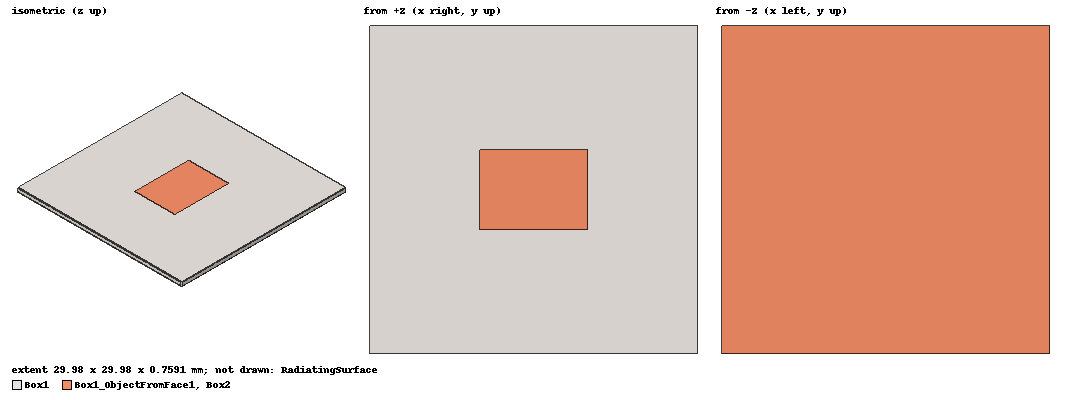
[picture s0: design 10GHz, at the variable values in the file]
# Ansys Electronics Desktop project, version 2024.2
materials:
  vacuum: permittivity=1
  Rogers RT/duroid 5880 (tm): permittivity=2.2 dielectric_loss_tangent=0.0009
  Rogers RO4003 (tm): permittivity=3.55 dielectric_loss_tangent=0.0027
  copper: permeability=0.999991 conductivity=58000000
  pec: conductivity=1e+30
  FR4_epoxy: permittivity=4.4 dielectric_loss_tangent=0.02
  Rogers RO4350 (tm): permittivity=3.66 dielectric_loss_tangent=0.004

design 10GHz (HFSS, HFSS Modal Network, model units mm)
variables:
  c = 299792458
  f0 = 10GHz
  lambda = c/f0
  SubW = lambda
  SubL = lambda
  SubTh = 0.688mm
  CuTh = 0.03556mm
  epsi_r = 3.66
  PatchW = (lambda/2)*sqrt(2/(epsi_r+1))
  PatchL = PatchWMult*lambda/2/sqrt(epsi_r)
  FeedX = 0.1mm
  FeedY = -1.7mm
  PatchWMult = 0.93
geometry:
  Box1 [Rogers RO4350 (tm)] = box(corner=(-SubW/2, -SubL/2, 0mm), size=(SubW, SubL, SubTh))
  Box1_ObjectFromFace1 [copper] = object_from(Box1.face(-z))
  Box1_ObjectFromFace1.thicken(CuTh)
  Box2 [copper] = box(corner=(-PatchW/2, -PatchL/2, SubTh), size=(PatchW, PatchL, CuTh))
  RadiatingSurface [vacuum] = region(absolute_offset=10mm on all sides)
  Rectangle1 = rectangle(corner=(-FeedX/2, FeedY, 0mm), z_size=SubTh, x_size=FeedX)
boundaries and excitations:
  Open1: Radiation Objects=RadiatingSurface
  1: Lumped Port Objects=Rectangle1 LumpedPortType=Modal Modes{Mode1{IntLine{(0, -1.7, 0) -> (0, -1.7, 0.688)} CharImp=Zpi RenormImp=50ohm}} Impedance=50ohm
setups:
  Setup1: HfssDriven Frequency=10GHz MaxDeltaS=0.02 MaximumPasses=20 MinimumPasses=1 MinimumConvergedPasses=2 PercentRefinement=30 BasisOrder=1 PortAccuracy=2 DrivenSolverType="Direct Solver"
    sweep Sweep: 5GHz to 15GHz, 401 points; Type=Interpolating InterpTolerance=0.5 InterpMaxSolns=250 InterpUsePortImped=false PassivityErrorTolerance=0.0001
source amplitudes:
  1:1: 1W 0deg
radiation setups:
  3D: Infinite Sphere Theta=0deg..180deg step 2deg Phi=-180deg..180deg step 2deg
  Elevation: Infinite Sphere Theta=-180deg..180deg step 1deg Phi=0deg..90deg step 90deg
  Azimuth: Infinite Sphere Theta=90deg..90deg step 0deg Phi=-180deg..180deg step 1deg
  Infinite Sphere1: Infinite Sphere Theta=0deg..180deg step 2deg Phi=-180deg..180deg step 2deg
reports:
  S Parameter Plot 1: dB(S(1,1)) vs Freq on Setup1 : Sweep [FeedY=all PatchWMult=all]; markers m1 at 10.025GHz, m2 at 9.9GHz, m3 at 10.175GHz, m4 at 9.925GHz
  S Parameter Plot 2: dB(S(1,1)) vs Freq on Setup1 : Sweep [FeedY=-1.7mm PatchWMult=0.93]
  Gain Plot 1: dB(GainTotal) vs Phi, Theta on Setup1 : LastAdaptive, 3D [Freq=10GHz FeedY=-1.7mm PatchWMult=0.93]
  Antenna Params Plot 1: RadiationEfficiency vs Freq on Setup1 : LastAdaptive [FeedY=all PatchWMult=all]

design 10GHz_Inset_Fed (HFSS, HFSS Modal Network, model units mm)
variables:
  c = 299792458
  f0 = 10GHz
  lambda = c/f0
  SubW = lambda
  SubL = lambda
  SubTh = 0.688mm
  CuTh = 0.03556mm
  epsi_r = 3.66
  PatchW = (lambda/2)*sqrt(2/(epsi_r+1))
  PatchL = PatchWMult*lambda/2/sqrt(epsi_r)
  FeedX = 0.1mm
  FeedY = 2.3mm
  PatchWMult = 0.97
  LineW = 7.48*SubTh/(exp(50 * (sqrt(epsi_r+1.41)/87))) - 1.25*CuTh
  Inset = FeedY
  Gap = LineW/2
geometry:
  Box1 [Rogers RO4350 (tm)] = box(corner=(-SubW/2, -SubL/2, 0mm), size=(SubW, SubL, SubTh))
  Box1_ObjectFromFace1 [copper] = object_from(Box1.face(-z))
  Box1_ObjectFromFace1.thicken(CuTh)
  Box2 [copper] = box(corner=(-PatchW/2, -PatchL/2, SubTh), size=(PatchW, PatchL, CuTh))
  RadiatingSurface [vacuum] = region(absolute_offset=10mm on all sides)
  Box3 = box(corner=(-LineW/2, -PatchL/2, SubTh), size=(LineW, -SubL/2+PatchL/2, CuTh))
  Box3_ObjectFromFace1 = object_from(Box2.face(at (0, -3.80007, 0.70578)))
  Box3_ObjectFromFace1.thicken(Inset)
  Box3_ObjectFromFace1.move_faces(MoveAlongNormalFlag=true OffsetDistance=Gap FacesToMove=Box3_ObjectFromFace1.face(at (0.683209, -2.65007, 0.70578), at (-0.683209, -2.65007, 0.70578)))
  Box3.move_faces(MoveAlongNormalFlag=true OffsetDistance=Inset FacesToMove=Box2.face(at (0, -3.80007, 0.70578)))
  Box2.subtract(Box3_ObjectFromFace1)
  Box2.unite(Box3)
  Box2_ObjectFromFace1 [pec] = object_from(Box2.face(at (0, -14.9896, 0.70578)))
  Box2_ObjectFromFace1.thicken(0.05mm)
  Box2_ObjectFromFace1.move_faces(MoveAlongNormalFlag=true OffsetDistance=1mm FacesToMove=Box2_ObjectFromFace1.face(at (0.683209, -15.0146, 0.70578), at (-0.683209, -15.0146, 0.70578)))
  Box2_ObjectFromFace1.move_faces(MoveAlongNormalFlag=true OffsetDistance=SubTh*2 FacesToMove=Box2_ObjectFromFace1.face(at (0, -15.0146, 0.72356)))
  Box2_ObjectFromFace1.move_faces(MoveAlongNormalFlag=true OffsetDistance=SubTh FacesToMove=Box2_ObjectFromFace1.face(at (0, -15.0146, 0.688)))
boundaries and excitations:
  Open1: Radiation Objects=RadiatingSurface
  1: Wave Port Faces=Box2_ObjectFromFace1.face(at (0, -14.9896, 1.04978)) WavePortType=Modal NumModes=1 Modes{Mode1{CharImp=Zpi}}
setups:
  Setup1: HfssDriven Frequency=10GHz MaxDeltaS=0.02 MaximumPasses=20 MinimumPasses=1 MinimumConvergedPasses=2 PercentRefinement=30 BasisOrder=1 PortAccuracy=2 DrivenSolverType="Direct Solver"
    sweep Sweep: 5GHz to 15GHz, 401 points; Type=Interpolating InterpTolerance=0.5 InterpMaxSolns=250 InterpUsePortImped=false PassivityErrorTolerance=0.0001
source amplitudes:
  1:1: 1W 0deg
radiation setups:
  3D: Infinite Sphere Theta=0deg..180deg step 2deg Phi=-180deg..180deg step 2deg
  Elevation: Infinite Sphere Theta=-180deg..180deg step 1deg Phi=0deg..90deg step 90deg
  Azimuth: Infinite Sphere Theta=90deg..90deg step 0deg Phi=-180deg..180deg step 1deg
  Infinite Sphere1: Infinite Sphere Theta=0deg..180deg step 2deg Phi=-180deg..180deg step 2deg
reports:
  S Parameter Plot 1: dB(S(1,1)) vs Freq on Setup1 : Sweep [FeedY=all PatchWMult=all]

design 10GHz_SIW_Inset_Fed (HFSS, HFSS Modal Network, model units mm)
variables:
  c = 299792458
  f0 = 10GHz
  lambda = c/f0
  SubW = lambda
  SubL = lambda
  SubTh = 0.688mm
  CuTh = 0.03556mm
  epsi_r = 3.66
  PatchW = (lambda/2)*sqrt(2/(epsi_r+1))
  PatchL = PatchWMult*lambda/2/sqrt(epsi_r)
  FeedX = 0.1mm
  FeedY = 2.3mm
  PatchWMult = 0.97
  LineW = 7.48*SubTh/(exp(50 * (sqrt(epsi_r+1.41)/87))) - 1.25*CuTh
  Inset = FeedY
  Gap = LineW/2
  SIWGap = 2mm
  SIWw = LineW+2mm
  GapToMicrostrip = LineW+2mm
  ViaR = 0.5mm
  Airbox = 0.1mm
  ViaGap = 1.87mm
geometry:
  Box1 [Rogers RO4350 (tm)] = box(corner=(-SubW/2, -SubL/2, 0mm), size=(SubW, SubL, SubTh))
  GND = object_from(Box1.face(-z))
  GND.thicken(CuTh)
  Patch [copper] = box(corner=(-PatchW/2, -PatchL/2, SubTh), size=(PatchW, PatchL, CuTh))
  RadiatingSurface [vacuum] = region(absolute_offset=10mm on all sides)
  Box3 = box(corner=(-LineW/2, -PatchL/2, SubTh), size=(LineW, -SubL/2+PatchL/2, CuTh))
  Box3_ObjectFromFace1 = object_from(Patch.face(at (0, -3.80007, 0.70578)))
  Box3_ObjectFromFace1.thicken(Inset)
  Box3_ObjectFromFace1.move_faces(MoveAlongNormalFlag=true OffsetDistance=Gap FacesToMove=Box3_ObjectFromFace1.face(at (0.683209, -2.65007, 0.70578), at (-0.683209, -2.65007, 0.70578)))
  Box3.move_faces(MoveAlongNormalFlag=true OffsetDistance=Inset FacesToMove=Patch.face(at (0, -3.80007, 0.70578)))
  Patch.subtract(Box3_ObjectFromFace1)
  Patch.unite(Box3)
  Box2_ObjectFromFace1 [pec] = object_from(Patch.face(at (0, -14.9896, 0.70578)))
  Box2_ObjectFromFace1.thicken(0.05mm)
  Box2_ObjectFromFace1.move_faces(MoveAlongNormalFlag=true OffsetDistance=1mm FacesToMove=Box2_ObjectFromFace1.face(at (0.683209, -15.0146, 0.70578), at (-0.683209, -15.0146, 0.70578)))
  Box2_ObjectFromFace1.move_faces(MoveAlongNormalFlag=true OffsetDistance=SubTh*2 FacesToMove=Box2_ObjectFromFace1.face(at (0, -15.0146, 0.72356)))
  Box2_ObjectFromFace1.move_faces(MoveAlongNormalFlag=true OffsetDistance=SubTh FacesToMove=Box2_ObjectFromFace1.face(at (0, -15.0146, 0.688)))
  Box4 = box(corner=(-(PatchW+SIWGap)/2, -(PatchL+SIWGap)/2, SubTh), size=(PatchW + SIWGap, PatchL + SIWGap, CuTh))
  SIW = box(corner=(-(PatchW+SIWGap+SIWw)/2, -(PatchL+SIWGap+SIWw)/2, SubTh), size=(PatchW + SIWGap + SIWw, PatchL + SIWGap + SIWw, CuTh))
  SIW.subtract(Box4)
  Box6 = box(corner=(-PatchW/2, -PatchL/2, SubTh), size=(PatchW, PatchL, CuTh))
  Box7 = box(corner=(-GapToMicrostrip/2, -PatchL/2, SubTh), size=(GapToMicrostrip, -SubL/2+PatchL/2, CuTh))
  Box3_ObjectFromFace2 = object_from(Box6.face(at (0, -3.80007, 0.70578)))
  Box3_ObjectFromFace2.thicken(Inset)
  Box3_ObjectFromFace2.move_faces(MoveAlongNormalFlag=true OffsetDistance=Gap FacesToMove=Box3_ObjectFromFace2.face(at (1.68321, -2.65007, 0.70578), at (-1.68321, -2.65007, 0.70578)))
  Box6.subtract(Box3_ObjectFromFace2)
  Box7.move_faces(MoveAlongNormalFlag=true OffsetDistance=Inset FacesToMove=Box6.face(at (0, -3.80007, 0.70578)))
  Box6.unite(Box7)
  SIW.subtract(Box6)
  Via_OG [copper] = cylinder(axis=Z, base_centre=(-(PatchW+Gap+SIWw-ViaR)/2, -(PatchL+Gap+SIWw-ViaR)/2, -CuTh), radius=ViaR, height=2*CuTh+SubTh)
  Via_OG_Airbox = cylinder(axis=Z, base_centre=(-(PatchW+Gap+SIWw-ViaR)/2, -(PatchL+Gap+SIWw-ViaR)/2, 0mm), radius=ViaR+Airbox, height=SubTh)
  Via_OG_1, Via_OG_2 = Via_OG.duplicate_along_line(step=(ViaGap, 0mm, 0mm), total=3)
  Via_OG_Airbox_1, Via_OG_Airbox_2 = Via_OG_Airbox.duplicate_along_line(step=(ViaGap, 0mm, 0mm), total=3)
  Via_OG_3..Via_OG_8 = Via_OG.duplicate_along_line(step=(0mm, ViaGap, 0mm), total=7)
  Via_OG_Airbox_3..Via_OG_Airbox_8 = Via_OG_Airbox.duplicate_along_line(step=(0mm, ViaGap, 0mm), total=7)
  Via_OG_8_1..Via_OG_8_7 = Via_OG_8.duplicate_along_line(step=(ViaGap, 0mm, 0mm), total=8)
  Via_OG_Airbox_8_1..Via_OG_Airbox_8_7 = Via_OG_Airbox_8.duplicate_along_line(step=(ViaGap, 0mm, 0mm), total=8)
  Via_OG_2_1 = Via_OG_2.duplicate_along_line(step=(5.9mm, 0mm, 0mm), total=2)
  Via_OG_Airbox_2_1 = Via_OG_Airbox_2.duplicate_along_line(step=(5.9mm, 0mm, 0mm), total=2)
  Via_OG_2_1_1, Via_OG_2_1_2 = Via_OG_2_1.duplicate_along_line(step=(ViaGap, 0mm, 0mm), total=3)
  Via_OG_Airbox_2_1_1, Via_OG_Airbox_2_1_2 = Via_OG_Airbox_2_1.duplicate_along_line(step=(ViaGap, 0mm, 0mm), total=3)
  Via_OG_2_1_2_1..Via_OG_2_1_2_5 = Via_OG_2_1_2.duplicate_along_line(step=(0mm, ViaGap, 0mm), total=6)
  Via_OG_Airbox_2_1_2_1..Via_OG_Airbox_2_1_2_5 = Via_OG_Airbox_2_1_2.duplicate_along_line(step=(0mm, ViaGap, 0mm), total=6)
  Box1.subtract(Via_OG_Airbox, Via_OG_Airbox_1, Via_OG_Airbox_2, Via_OG_Airbox_2_1, Via_OG_Airbox_2_1_1, Via_OG_Airbox_2_1_2, Via_OG_Airbox_2_1_2_1..Via_OG_Airbox_2_1_2_5, Via_OG_Airbox_3..Via_OG_Airbox_8, Via_OG_Airbox_8_1..Via_OG_Airbox_8_7)
  Via_OG.unite(Via_OG_1, Via_OG_2, Via_OG_2_1, Via_OG_2_1_1, Via_OG_2_1_2, Via_OG_2_1_2_1..Via_OG_2_1_2_5, Via_OG_3..Via_OG_8, Via_OG_8_1..Via_OG_8_7, GND, SIW)
  group Via = Via_OG
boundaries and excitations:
  Open1: Radiation Objects=RadiatingSurface
  1: Wave Port Faces=Box2_ObjectFromFace1.face(at (0, -14.9896, 1.04978)) WavePortType=Modal NumModes=1 Modes{Mode1{CharImp=Zpi}}
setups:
  Setup1: HfssDriven Frequency=10GHz MaxDeltaS=0.02 MaximumPasses=20 MinimumPasses=1 MinimumConvergedPasses=2 PercentRefinement=30 BasisOrder=1 PortAccuracy=2 DrivenSolverType="Direct Solver"
    sweep Sweep: 5GHz to 15GHz, 401 points; Type=Interpolating InterpTolerance=0.5 InterpMaxSolns=250 InterpUsePortImped=false PassivityErrorTolerance=0.0001
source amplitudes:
  1:1: 1W 0deg
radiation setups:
  3D: Infinite Sphere Theta=0deg..180deg step 2deg Phi=-180deg..180deg step 2deg
  Elevation: Infinite Sphere Theta=-180deg..180deg step 1deg Phi=0deg..90deg step 90deg
  Azimuth: Infinite Sphere Theta=90deg..90deg step 0deg Phi=-180deg..180deg step 1deg
  Infinite Sphere1: Infinite Sphere Theta=0deg..180deg step 2deg Phi=-180deg..180deg step 2deg
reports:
  Gain Plot 1: dB(GainTotal) vs Phi, Theta on Setup1 : LastAdaptive, 3D [Freq=10GHz]
  Gain Plot 2: dB(GainTotal) vs Theta, Phi on Setup1 : LastAdaptive, 3D [Freq=10GHz]
  S Parameter Plot 1: dB(S(1,1)) vs Freq on Setup1 : Sweep
  Port Zo Plot 1: re(Zo(1)) vs Freq on Setup1 : Sweep
  Antenna Params Plot 1: RadiationEfficiency vs Freq on Setup1 : LastAdaptive

design 10GHz_1x8_Array (HFSS, HFSS Modal Network, model units mm)
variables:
  c = 299792458
  f0 = 10GHz
  lambda = c/f0
  SubW = 2*lambda
  SubL = lambda
  SubTh = 0.688mm
  CuTh = 0.03556mm
  epsi_r = 3.66
  PatchW = 9.6242mm
  PatchL = 7.6072*PatchLMult mm
  FeedX = 0.1mm
  FeedY = 2.3mm
  LineW = 1.27097mm  # optimise 0.63485mm..1.90455mm; tune 0.63485mm..1.90455mm
  Inset = FeedY
  Gap = LineW/2
  ArrayL = lambda/2-PatchL
  Gap_NotFirst = 0
  PatchLMult = 1.02  # optimise 0.51..1.53
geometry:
  Box1 = box(corner=(-SubW/2, -SubL/2, 0mm), size=(SubW, SubL, SubTh))
  Box1_ObjectFromFace1 = object_from(Subst.face(2 of 6))
  Box1_ObjectFromFace1.thicken(CuTh)
  1_Patch [copper] = box(corner=(-PatchW/2, -PatchL/2, SubTh), size=(PatchW, PatchL, CuTh))
  Box3 = box(corner=(-LineW/2, -PatchL/2, SubTh), size=(LineW, -SubL/2+PatchL/2, CuTh))
  Box3_ObjectFromFace1 = object_from(1_Patch.face(at (0, -3.87967, 0.70578)))
  Box3_ObjectFromFace1.thicken(Inset)
  Box3_ObjectFromFace1.move_faces(MoveAlongNormalFlag=true OffsetDistance=Gap_NotFirst FacesToMove=Box3_ObjectFromFace1.face(at (0.635485, -2.72967, 0.70578), at (-0.635485, -2.72967, 0.70578)))
  Box3.move_faces(MoveAlongNormalFlag=true OffsetDistance=Inset FacesToMove=1_Patch.face(at (0, -3.87967, 0.70578)))
  1_Patch.subtract(Box3_ObjectFromFace1)
  1_Patch.unite(Box3)
  Port [pec] = object_from(1_Patch.face(3 of 6))
  Port.thicken(0.05mm)
  Port.move_faces(MoveAlongNormalFlag=true OffsetDistance=1mm FacesToMove=Port.face(at (0.635485, -15.0146, 0.70578), at (-0.635485, -15.0146, 0.70578)))
  Port.move_faces(MoveAlongNormalFlag=true OffsetDistance=SubTh*2 FacesToMove=Port.face(at (0, -15.0146, 0.72356)))
  Port.move_faces(MoveAlongNormalFlag=true OffsetDistance=SubTh FacesToMove=Port.face(at (0, -15.0146, 0.688)))
  Box1_1 = Box1.duplicate_along_line(step=(0mm, SubL, 0mm), total=2)
  Box1_ObjectFromFace1_1 = Box1_ObjectFromFace1.duplicate_along_line(step=(0mm, SubL, 0mm), total=2)
  Box1.unite(Box1_1)
  Box1_ObjectFromFace1_1.unite(Box1_ObjectFromFace1)
  SecondPatch = box(corner=(-PatchW/2, -PatchL/2, SubTh), size=(PatchW, PatchL, CuTh))
  SecondPatch.move(0mm, ArrayL+PatchL, 0mm)
  2_Patch = box(corner=(-LineW/2, -PatchL/2, SubTh), size=(LineW, ArrayL, CuTh))
  2_Patch.move(0mm, PatchL, 0mm)
  2_Patch.unite(SecondPatch)
  3_Patch, 4_Patch, 5_Patch, 6_Patch, 7_Patch, 8_Patch = 2_Patch.duplicate_along_line(step=(0mm, PatchL +ArrayL, 0mm), total=7)
  Subst [Rogers RO4350 (tm)], Box1_2 = Box1.duplicate_along_line(step=(0mm, SubL*1.3, 0mm), total=3)
  Subst.unite(Box1_2, Box1)
  GND [copper], Box1_ObjectFromFace1_1_1 = Box1_ObjectFromFace1_1.duplicate_along_line(step=(0mm, SubL*1.3, 0mm), total=3)
  GND.unite(Box1_ObjectFromFace1_1_1, Box1_ObjectFromFace1_1)
  RadiatingSurface [vacuum] = region(absolute_offset=10mm on all sides)
  1_Patch.unite(2_Patch, 3_Patch, 4_Patch, 5_Patch, 6_Patch, 7_Patch, 8_Patch)
  Subst.move_faces(MoveAlongNormalFlag=true OffsetDistance=50mm FacesToMove=Subst.face(at (0, 122.915, 0.344)))
  GND.move_faces(MoveAlongNormalFlag=true OffsetDistance=50mm FacesToMove=GND.face(at (0, 122.915, -0.01778)))
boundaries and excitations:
  Open1: Radiation Objects=RadiatingSurface
  1: Wave Port Faces=Port.face(at (0, -14.9896, 1.04978)) WavePortType=Modal NumModes=1 Modes{Mode1{CharImp=Zpi}}
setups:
  Setup1: HfssDriven Frequency=10GHz MaxDeltaS=0.02 MaximumPasses=18 MinimumPasses=1 MinimumConvergedPasses=2 PercentRefinement=30 BasisOrder=1 PortAccuracy=2 DrivenSolverType="Direct Solver" SaveAnyFields=false
    sweep Sweep: 8GHz to 12GHz, 401 points; Type=Fast SaveFields
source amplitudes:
  1:1: 1W 0deg
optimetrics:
  OptimizationSetup1: Optimization Optimizer="DX NLPQL" AnalysisStopOptions{StopForNumIteration StopForGrdTolerance MaxNumIteration=60 MinNumIteration=10} CostFuncNormType=L2 Acceptable_Cost=0 Noise=0.01 UpdateDesignWhenDone
    vary LineW: Min=1.25mm Max=1.28mm MinStep=0.012697mm MaxStep=0.12697mm MinFocus=0.63485mm MaxFocus=1.90455mm start=1.27097mm
    vary PatchLMult: Min=0.95 Max=1.15 MinStep=0.0102 MaxStep=0.102 MinFocus=0.51 MaxFocus=1.53 start=1.02
    goal dB(S(1,1)) <= -20 weight 1 on Setup1 : Sweep at Freq 9.95GHz to 10.05GHz
    goal RadiationEfficiency >= 0.75 weight 1 on Setup1 : Sweep at Freq 10GHz
    goal VSWR(1) <= 1.99 weight 1 on Setup1 : Sweep at Freq 9.95GHz to 10.05GHz
    goal dB(S(1,1)) <= -10 weight 1 on Setup1 : Sweep at Freq 9.5GHz to 10.5GHz
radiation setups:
  3D: Infinite Sphere Theta=0deg..180deg step 2deg Phi=-180deg..180deg step 2deg
  Elevation: Infinite Sphere Theta=-180deg..180deg step 1deg Phi=0deg..90deg step 90deg
  Azimuth: Infinite Sphere Theta=90deg..90deg step 0deg Phi=-180deg..180deg step 1deg
  Infinite Sphere1: Infinite Sphere Theta=0deg..180deg step 2deg Phi=-180deg..180deg step 2deg
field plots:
  Mag_Jsurf1: Jsurf over Subst.face(at (0, 78.9626, 0.688)) on Setup1 : Sweep at Freq=10GHz Phase=0deg
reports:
  S11: dB(S(1,1)) vs Freq on Setup1 : Sweep [FeedY=all]; markers m1 at 9.91GHz, m2 at 10.05GHz
  Gain Plot 1: dB(GainTotal) vs Phi, Theta on Setup1 : Sweep, 3D [Freq=all]
  Antenna Params Plot 1: RadiationEfficiency vs Freq on Setup1 : Sweep [LineW=all]; markers m1 at 10GHz
  Port Zo Plot 1: re(Zo(1)) vs Freq on Setup1 : Sweep [LineW=all]
  VSWR Plot 1: VSWR(1) vs Freq on Setup1 : Sweep [LineW=all]; markers m1 at 10.02GHz, m2 at 10.02GHz, m3 at 10GHz
  Gain Plot 2: dB(GainTotal) vs Theta on Setup1 : Sweep, 3D [Phi=all Freq=8GHz]
  S11 - PatchL Mod: dB(S(1,1)) vs Freq on Setup1 : Sweep [PatchLMult=all]
  S11 - LineW: dB(S(1,1)) vs Freq on Setup1 : Sweep [LineW=all PatchLMult=1.02]
  S Parameter Plot 1: dB(S(1,1)) vs Freq on Setup1 : Sweep [PatchW=all LineW=1.27097mm]

design 10GHz_1x8_Array_SIW (HFSS, HFSS Modal Network, model units mm)
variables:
  c = 299792458
  f0 = 10GHz
  lambda = c/f0
  SubW = 2*lambda
  SubL = lambda
  SubTh = 0.688mm
  CuTh = 0.03556mm
  epsi_r = 3.66
  PatchW = 9.6242mm
  PatchL = 7.6072*PatchLMult mm
  FeedX = 0.1mm
  FeedY = 2.3mm
  LineW = 1.27097mm  # optimise 0.63485mm..1.90455mm; tune 0.63485mm..1.90455mm
  Inset = FeedY
  Gap = LineW/2
  ArrayL = lambda/2-PatchL
  Gap_NotFirst = 0
  PatchLMult = 1.02  # optimise 0.51..1.53
  SIWL = 2mm
  SIWW = 2mm
  SIW_w = 1.5
  SIW_l = 1.5
  SiwGapW = SIWGapL
  SIWGapL = 2mm
  SIWTh = LineW+2mm
  GapToMicrostrip = 2.5mm
  ViaR = 0.5mm
  Airbox = 0.1mm
  ViaGap = 1.89mm
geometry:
  Box1 = box(corner=(-SubW/2, -SubL/2, 0mm), size=(SubW, SubL, SubTh))
  Box1_ObjectFromFace1 = object_from(Subst.face(2 of 6))
  Box1_ObjectFromFace1.thicken(CuTh)
  1_Patch [copper] = box(corner=(-PatchW/2, -PatchL/2, SubTh), size=(PatchW, PatchL, CuTh))
  Box3 = box(corner=(-LineW/2, -PatchL/2, SubTh), size=(LineW, -SubL/2+PatchL/2, CuTh))
  Box3_ObjectFromFace1 = object_from(1_Patch.face(at (0, -3.87967, 0.70578)))
  Box3_ObjectFromFace1.thicken(Inset)
  Box3_ObjectFromFace1.move_faces(MoveAlongNormalFlag=true OffsetDistance=Gap_NotFirst FacesToMove=Box3_ObjectFromFace1.face(at (0.635485, -2.72967, 0.70578), at (-0.635485, -2.72967, 0.70578)))
  Box3.move_faces(MoveAlongNormalFlag=true OffsetDistance=Inset FacesToMove=1_Patch.face(at (0, -3.87967, 0.70578)))
  1_Patch.subtract(Box3_ObjectFromFace1)
  1_Patch.unite(Box3)
  Port [pec] = object_from(1_Patch.face(3 of 6))
  Port.thicken(0.05mm)
  Port.move_faces(MoveAlongNormalFlag=true OffsetDistance=1mm FacesToMove=Port.face(at (0.635485, -15.0146, 0.70578), at (-0.635485, -15.0146, 0.70578)))
  Port.move_faces(MoveAlongNormalFlag=true OffsetDistance=SubTh*2 FacesToMove=Port.face(at (0, -15.0146, 0.72356)))
  Port.move_faces(MoveAlongNormalFlag=true OffsetDistance=SubTh FacesToMove=Port.face(at (0, -15.0146, 0.688)))
  Box1_1 = Box1.duplicate_along_line(step=(0mm, SubL, 0mm), total=2)
  Box1_ObjectFromFace1_1 = Box1_ObjectFromFace1.duplicate_along_line(step=(0mm, SubL, 0mm), total=2)
  Box1.unite(Box1_1)
  Box1_ObjectFromFace1_1.unite(Box1_ObjectFromFace1)
  SecondPatch = box(corner=(-PatchW/2, -PatchL/2, SubTh), size=(PatchW, PatchL, CuTh))
  SecondPatch.move(0mm, ArrayL+PatchL, 0mm)
  2_Patch = box(corner=(-LineW/2, -PatchL/2, SubTh), size=(LineW, ArrayL, CuTh))
  2_Patch.move(0mm, PatchL, 0mm)
  2_Patch.unite(SecondPatch)
  3_Patch, 4_Patch, 5_Patch, 6_Patch, 7_Patch, 8_Patch = 2_Patch.duplicate_along_line(step=(0mm, PatchL +ArrayL, 0mm), total=7)
  Subst [Rogers RO4350 (tm)], Box1_2 = Box1.duplicate_along_line(step=(0mm, SubL*1.3, 0mm), total=3)
  Subst.unite(Box1_2, Box1)
  GND [copper], Box1_ObjectFromFace1_1_1 = Box1_ObjectFromFace1_1.duplicate_along_line(step=(0mm, SubL*1.3, 0mm), total=3)
  GND.unite(Box1_ObjectFromFace1_1_1, Box1_ObjectFromFace1_1)
  RadiatingSurface [vacuum] = region(absolute_offset=10mm on all sides)
  1_Patch.unite(2_Patch, 3_Patch, 4_Patch, 5_Patch, 6_Patch, 7_Patch, 8_Patch)
  Subst.move_faces(MoveAlongNormalFlag=true OffsetDistance=50mm FacesToMove=Subst.face(at (0, 122.915, 0.344)))
  GND.move_faces(MoveAlongNormalFlag=true OffsetDistance=50mm FacesToMove=GND.face(at (0, 122.915, -0.01778)))
  1_Patch1 = box(corner=(-PatchW/2-SiwGapW/2, -PatchL/2-SIWGapL/2, SubTh), size=(PatchW+SiwGapW, PatchL+SIWGapL, CuTh))
  1_Patch_SIW [copper] = box(corner=(-PatchW/2-SiwGapW/2-SIWTh/2, -PatchL/2-SIWGapL/2-SIWTh/2, SubTh), size=(PatchW+SiwGapW+SIWTh, PatchL+SIWGapL+SIWTh, CuTh))
  1_Patch_SIW.subtract(1_Patch1)
  2_Patch_SIW, 3_Patch_SIW, 4_Patch_SIW, 5_Patch_SIW, 6_Patch_SIW, 7_Patch_SIW, 8_Patch_SIW [copper] = 1_Patch_SIW.duplicate_along_line(step=(0mm, ArrayL+PatchL, 0mm), total=8)
  Box4 = box(corner=(-(LineW+GapToMicrostrip)/2, -(ArrayL+PatchL), SubTh), size=(LineW+GapToMicrostrip, (ArrayL+PatchL) * 9, CuTh))
  Box4_1 = Box4.copy()
  1_Patch_SIW.subtract(Box4_1)
  Box4_2 = Box4.copy()
  2_Patch_SIW.subtract(Box4_2)
  Box4_3 = Box4.copy()
  3_Patch_SIW.subtract(Box4_3)
  Box4_4 = Box4.copy()
  4_Patch_SIW.subtract(Box4_4)
  Box4_5 = Box4.copy()
  5_Patch_SIW.subtract(Box4_5)
  Box4_6 = Box4.copy()
  6_Patch_SIW.subtract(Box4_6)
  Box4_7 = Box4.copy()
  7_Patch_SIW.subtract(Box4_7)
  8_Patch_SIW.subtract(Box4)
  Via_OG [copper] = cylinder(axis=Z, base_centre=(-(PatchW+SIWTh+SIWGapL/2-1.5*ViaR)/2, -(PatchL+SIWGapL/2+SIWTh-1.5*ViaR)/2, -CuTh), radius=ViaR, height=2*CuTh+SubTh)
  Via_OG_Airbox [vacuum] = cylinder(axis=Z, base_centre=(-(PatchW+SIWTh+SIWGapL/2-1.5*ViaR)/2, -(PatchL+SIWGapL/2+SIWTh-1.5*ViaR)/2, 0), radius=ViaR+Airbox, height=SubTh)
  Via_OG_1..Via_OG_6 [copper] = Via_OG.duplicate_along_line(step=(0mm, ViaGap, 0mm), total=7)
  Via_OG_Airbox_1..Via_OG_Airbox_6 [vacuum] = Via_OG_Airbox.duplicate_along_line(step=(0mm, ViaGap, 0mm), total=7)
  Via_OG_6_1, Via_OG_6_2 [copper] = Via_OG_6.duplicate_along_line(step=(ViaGap, 0mm, 0mm), total=3)
  Via_OG_Airbox_6_1, Via_OG_Airbox_6_2 [vacuum] = Via_OG_Airbox_6.duplicate_along_line(step=(ViaGap, 0mm, 0mm), total=3)
  Via_OG_Airbox_7, Via_OG_Airbox_8 [vacuum] = Via_OG_Airbox.duplicate_along_line(step=(ViaGap, 0mm, 0mm), total=3)
  Via_OG_7, Via_OG_8 [copper] = Via_OG.duplicate_along_line(step=(ViaGap, 0mm, 0mm), total=3)
  Via_OG_9 [copper] = Via_OG.duplicate_around_axis(axis=Z, angle=180deg, total=2)
  Via_OG_Airbox_9 [vacuum] = Via_OG_Airbox.duplicate_around_axis(axis=Z, angle=180deg, total=2)
  Via_OG_1_1 [copper] = Via_OG_1.duplicate_around_axis(axis=Z, angle=180deg, total=2)
  Via_OG_2_1 [copper] = Via_OG_2.duplicate_around_axis(axis=Z, angle=180deg, total=2)
  Via_OG_3_1 [copper] = Via_OG_3.duplicate_around_axis(axis=Z, angle=180deg, total=2)
  Via_OG_4_1 [copper] = Via_OG_4.duplicate_around_axis(axis=Z, angle=180deg, total=2)
  Via_OG_5_1 [copper] = Via_OG_5.duplicate_around_axis(axis=Z, angle=180deg, total=2)
  Via_OG_6_3 [copper] = Via_OG_6.duplicate_around_axis(axis=Z, angle=180deg, total=2)
  Via_OG_Airbox_1_1 [vacuum] = Via_OG_Airbox_1.duplicate_around_axis(axis=Z, angle=180deg, total=2)
  Via_OG_Airbox_2_1 [vacuum] = Via_OG_Airbox_2.duplicate_around_axis(axis=Z, angle=180deg, total=2)
  Via_OG_Airbox_3_1 [vacuum] = Via_OG_Airbox_3.duplicate_around_axis(axis=Z, angle=180deg, total=2)
  Via_OG_Airbox_4_1 [vacuum] = Via_OG_Airbox_4.duplicate_around_axis(axis=Z, angle=180deg, total=2)
  Via_OG_Airbox_5_1 [vacuum] = Via_OG_Airbox_5.duplicate_around_axis(axis=Z, angle=180deg, total=2)
  Via_OG_Airbox_6_3 [vacuum] = Via_OG_Airbox_6.duplicate_around_axis(axis=Z, angle=180deg, total=2)
  Via_OG_6_1_1 [copper] = Via_OG_6_1.duplicate_around_axis(axis=Z, angle=180deg, total=2)
  Via_OG_6_2_1 [copper] = Via_OG_6_2.duplicate_around_axis(axis=Z, angle=180deg, total=2)
  Via_OG_Airbox_6_1_1 [vacuum] = Via_OG_Airbox_6_1.duplicate_around_axis(axis=Z, angle=180deg, total=2)
  Via_OG_Airbox_6_2_1 [vacuum] = Via_OG_Airbox_6_2.duplicate_around_axis(axis=Z, angle=180deg, total=2)
  Via_OG_Airbox_7_1 [vacuum] = Via_OG_Airbox_7.duplicate_around_axis(axis=Z, angle=180deg, total=2)
  Via_OG_Airbox_8_1 [vacuum] = Via_OG_Airbox_8.duplicate_around_axis(axis=Z, angle=180deg, total=2)
  Via_OG_7_1 [copper] = Via_OG_7.duplicate_around_axis(axis=Z, angle=180deg, total=2)
  Via_OG_8_1 [copper] = Via_OG_8.duplicate_around_axis(axis=Z, angle=180deg, total=2)
  Via_OG1 [copper] = cylinder(axis=Z, base_centre=(-(PatchW+SIWTh+SIWGapL/2-1.5*ViaR)/2, -(PatchL+SIWGapL/2+SIWTh-1.5*ViaR)/2, -CuTh), radius=ViaR, height=2*CuTh+SubTh)
  Via_OG_10..Via_OG_15 [copper] = Via_OG1.duplicate_along_line(step=(0mm, ViaGap, 0mm), total=7)
  Via_OG_16, Via_OG_17 [copper] = Via_OG1.duplicate_along_line(step=(ViaGap, 0mm, 0mm), total=3)
  Via_OG_18 [copper] = Via_OG1.duplicate_around_axis(axis=Z, angle=180deg, total=2)
  Via_OG_Airbox1 [vacuum] = cylinder(axis=Z, base_centre=(-(PatchW+SIWTh+SIWGapL/2-1.5*ViaR)/2, -(PatchL+SIWGapL/2+SIWTh-1.5*ViaR)/2, 0), radius=ViaR+Airbox, height=SubTh)
  Via_OG_Airbox_10..Via_OG_Airbox_15 [vacuum] = Via_OG_Airbox1.duplicate_along_line(step=(0mm, ViaGap, 0mm), total=7)
  Via_OG_Airbox_16, Via_OG_Airbox_17 [vacuum] = Via_OG_Airbox1.duplicate_along_line(step=(ViaGap, 0mm, 0mm), total=3)
  Via_OG_Airbox_18 [vacuum] = Via_OG_Airbox1.duplicate_around_axis(axis=Z, angle=180deg, total=2)
  Via_OG_1_2 [copper] = Via_OG_10.duplicate_around_axis(axis=Z, angle=180deg, total=2)
  Via_OG_2_2 [copper] = Via_OG_11.duplicate_around_axis(axis=Z, angle=180deg, total=2)
  Via_OG_3_2 [copper] = Via_OG_12.duplicate_around_axis(axis=Z, angle=180deg, total=2)
  Via_OG_4_2 [copper] = Via_OG_13.duplicate_around_axis(axis=Z, angle=180deg, total=2)
  Via_OG_5_2 [copper] = Via_OG_14.duplicate_around_axis(axis=Z, angle=180deg, total=2)
  Via_OG_6_4, Via_OG_6_5 [copper] = Via_OG_15.duplicate_along_line(step=(ViaGap, 0mm, 0mm), total=3)
  Via_OG_6_6 [copper] = Via_OG_15.duplicate_around_axis(axis=Z, angle=180deg, total=2)
  Via_OG_Airbox_1_2 [vacuum] = Via_OG_Airbox_10.duplicate_around_axis(axis=Z, angle=180deg, total=2)
  Via_OG_Airbox_2_2 [vacuum] = Via_OG_Airbox_11.duplicate_around_axis(axis=Z, angle=180deg, total=2)
  Via_OG_Airbox_3_2 [vacuum] = Via_OG_Airbox_12.duplicate_around_axis(axis=Z, angle=180deg, total=2)
  Via_OG_Airbox_4_2 [vacuum] = Via_OG_Airbox_13.duplicate_around_axis(axis=Z, angle=180deg, total=2)
  Via_OG_Airbox_5_2 [vacuum] = Via_OG_Airbox_14.duplicate_around_axis(axis=Z, angle=180deg, total=2)
  Via_OG_Airbox_6_4, Via_OG_Airbox_6_5 [vacuum] = Via_OG_Airbox_15.duplicate_along_line(step=(ViaGap, 0mm, 0mm), total=3)
  Via_OG_Airbox_6_6 [vacuum] = Via_OG_Airbox_15.duplicate_around_axis(axis=Z, angle=180deg, total=2)
  Via_OG_6_1_2 [copper] = Via_OG_6_4.duplicate_around_axis(axis=Z, angle=180deg, total=2)
  Via_OG_6_2_2 [copper] = Via_OG_6_5.duplicate_around_axis(axis=Z, angle=180deg, total=2)
  Via_OG_Airbox_6_1_2 [vacuum] = Via_OG_Airbox_6_4.duplicate_around_axis(axis=Z, angle=180deg, total=2)
  Via_OG_Airbox_6_2_2 [vacuum] = Via_OG_Airbox_6_5.duplicate_around_axis(axis=Z, angle=180deg, total=2)
  Via_OG_Airbox_7_2 [vacuum] = Via_OG_Airbox_16.duplicate_around_axis(axis=Z, angle=180deg, total=2)
  Via_OG_Airbox_8_2 [vacuum] = Via_OG_Airbox_17.duplicate_around_axis(axis=Z, angle=180deg, total=2)
  Via_OG_7_2 [copper] = Via_OG_16.duplicate_around_axis(axis=Z, angle=180deg, total=2)
  Via_OG_8_2 [copper] = Via_OG_17.duplicate_around_axis(axis=Z, angle=180deg, total=2)
  group Via_OG_Group = Via_OG, Via_OG_Airbox, Via_OG_1..Via_OG_6, Via_OG_Airbox_1..Via_OG_Airbox_6, Via_OG_6_1, Via_OG_6_2, Via_OG_Airbox_6_1, Via_OG_Airbox_6_2, Via_OG_Airbox_7, Via_OG_Airbox_8, Via_OG_7, Via_OG_8, Via_OG_9, Via_OG_Airbox_9, Via_OG_1_1, Via_OG_2_1, Via_OG_3_1, Via_OG_4_1, Via_OG_5_1, Via_OG_6_3, Via_OG_Airbox_1_1, Via_OG_Airbox_2_1, Via_OG_Airbox_3_1, Via_OG_Airbox_4_1, Via_OG_Airbox_5_1, Via_OG_Airbox_6_3, Via_OG_6_1_1, Via_OG_6_2_1, Via_OG_Airbox_6_1_1, Via_OG_Airbox_6_2_1, Via_OG_Airbox_7_1, Via_OG_Airbox_8_1, Via_OG_7_1, Via_OG_8_1
  group Via_OG_Group1 = Via_OG1, Via_OG_Airbox1, Via_OG_10..Via_OG_15, Via_OG_Airbox_10..Via_OG_Airbox_15, Via_OG_6_4, Via_OG_6_5, Via_OG_Airbox_6_4, Via_OG_Airbox_6_5, Via_OG_Airbox_16, Via_OG_Airbox_17, Via_OG_16, Via_OG_17, Via_OG_18, Via_OG_Airbox_18, Via_OG_1_2, Via_OG_2_2, Via_OG_3_2, Via_OG_4_2, Via_OG_5_2, Via_OG_6_6, Via_OG_Airbox_1_2, Via_OG_Airbox_2_2, Via_OG_Airbox_3_2, Via_OG_Airbox_4_2, Via_OG_Airbox_5_2, Via_OG_Airbox_6_6, Via_OG_6_1_2, Via_OG_6_2_2, Via_OG_Airbox_6_1_2, Via_OG_Airbox_6_2_2, Via_OG_Airbox_7_2, Via_OG_Airbox_8_2, Via_OG_7_2, Via_OG_8_2
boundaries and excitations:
  Open1: Radiation Objects=RadiatingSurface
  1: Wave Port Faces=Port.face(at (0, -14.9896, 1.04978)) WavePortType=Modal NumModes=1 Modes{Mode1{CharImp=Zpi}}
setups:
  Setup1: HfssDriven Frequency=10GHz MaxDeltaS=0.02 MaximumPasses=18 MinimumPasses=1 MinimumConvergedPasses=2 PercentRefinement=30 BasisOrder=1 PortAccuracy=2 DrivenSolverType="Direct Solver" SaveAnyFields=false
    sweep Sweep: 8GHz to 12GHz, 401 points; Type=Fast SaveFields
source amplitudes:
  1:1: 1W 0deg
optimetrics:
  OptimizationSetup1: Optimization Optimizer="DX NLPQL" AnalysisStopOptions{StopForNumIteration StopForGrdTolerance MaxNumIteration=60 MinNumIteration=10} CostFuncNormType=L2 Acceptable_Cost=0 Noise=0.01 UpdateDesignWhenDone
    vary LineW: Min=1.25mm Max=1.28mm MinStep=0.012697mm MaxStep=0.12697mm MinFocus=0.63485mm MaxFocus=1.90455mm start=1.27097mm
    vary PatchLMult: Min=0.95 Max=1.15 MinStep=0.0102 MaxStep=0.102 MinFocus=0.51 MaxFocus=1.53 start=1.02
    goal dB(S(1,1)) <= -20 weight 1 on Setup1 : Sweep at Freq 9.95GHz to 10.05GHz
    goal RadiationEfficiency >= 0.75 weight 1 on Setup1 : Sweep at Freq 10GHz
    goal VSWR(1) <= 1.99 weight 1 on Setup1 : Sweep at Freq 9.95GHz to 10.05GHz
    goal dB(S(1,1)) <= -10 weight 1 on Setup1 : Sweep at Freq 9.5GHz to 10.5GHz
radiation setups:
  3D: Infinite Sphere Theta=0deg..180deg step 2deg Phi=-180deg..180deg step 2deg
  Elevation: Infinite Sphere Theta=-180deg..180deg step 1deg Phi=0deg..90deg step 90deg
  Azimuth: Infinite Sphere Theta=90deg..90deg step 0deg Phi=-180deg..180deg step 1deg
  Infinite Sphere1: Infinite Sphere Theta=0deg..180deg step 2deg Phi=-180deg..180deg step 2deg
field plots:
  Mag_Jsurf1: Jsurf over Subst.face(at (0, 78.9626, 0.688)) on Setup1 : Sweep at Freq=10GHz Phase=0deg
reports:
  S11: dB(S(1,1)) vs Freq on Setup1 : Sweep [FeedY=all]; markers m1 at 9.91GHz, m2 at 10.05GHz
  Gain Plot 1: dB(GainTotal) vs Phi, Theta on Setup1 : Sweep, 3D [Freq=all]
  Antenna Params Plot 1: RadiationEfficiency vs Freq on Setup1 : Sweep [LineW=all]; markers m1 at 10GHz
  Port Zo Plot 1: re(Zo(1)) vs Freq on Setup1 : Sweep [LineW=all]
  VSWR Plot 1: VSWR(1) vs Freq on Setup1 : Sweep [LineW=all]; markers m1 at 10.02GHz, m2 at 10.02GHz, m3 at 10GHz
  Gain Plot 2: dB(GainTotal) vs Theta on Setup1 : Sweep, 3D [Phi=all Freq=8GHz]
  S11 - PatchL Mod: dB(S(1,1)) vs Freq on Setup1 : Sweep [PatchLMult=all]
  S11 - LineW: dB(S(1,1)) vs Freq on Setup1 : Sweep [LineW=all PatchLMult=1.02]
  S Parameter Plot 1: dB(S(1,1)) vs Freq on Setup1 : Sweep [PatchW=all LineW=1.27097mm]
